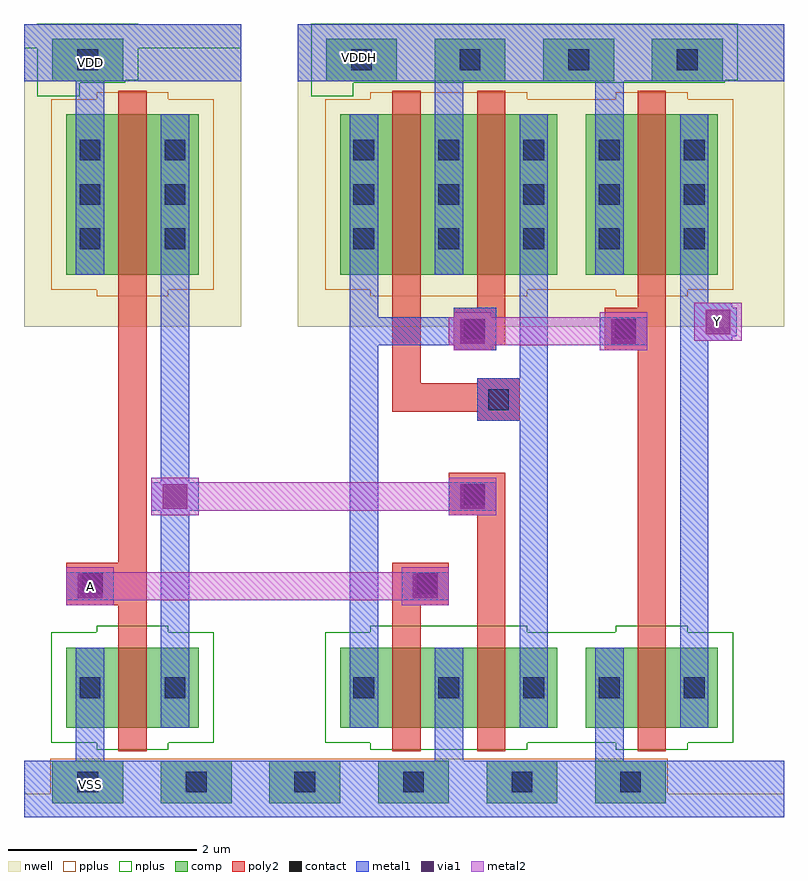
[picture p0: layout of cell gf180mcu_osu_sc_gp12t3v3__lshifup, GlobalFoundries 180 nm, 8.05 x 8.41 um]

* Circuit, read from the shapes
.subckt gf180mcu_osu_sc_gp12t3v3__lshifup A VDD VDDH VSS Y
XM1 n1 A VSS VSS nfet_03v3 w=0.85u l=0.3u
XM2 VSS A n2 VSS nfet_03v3 w=0.85u l=0.3u
XM3 n3 n1 VSS VSS nfet_03v3 w=0.85u l=0.3u
XM4 Y n2 VSS VSS nfet_03v3 w=0.85u l=0.3u
XM5 n1 A VDD VDD pfet_03v3 w=1.7u l=0.3u
XM6 VDDH n3 n2 VDDH pfet_03v3 w=1.7u l=0.3u
XM7 n3 n2 VDDH VDDH pfet_03v3 w=1.7u l=0.3u
XM8 Y n2 VDDH VDDH pfet_03v3 w=1.7u l=0.3u
.ends

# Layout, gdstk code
import gdstk
lib = gdstk.Library(unit=1e-6, precision=1e-09)
def R(c, l, rs):  # rectangles x0, y0, x1, y1
    for r in rs: c.add(gdstk.rectangle(r[:2], r[2:], *l))
def A(c, l, x, y, w, h, nx, ny, dx, dy):  # array of equal rectangles
    R(c, l, [(x+i*dx, y+j*dy, x+i*dx+w, y+j*dy+h) for i in range(nx) for j in range(ny)])
nwell = (21, 0)
comp = (22, 0)
poly2 = (30, 0)
pplus = (31, 0)
nplus = (32, 0)
contact = (33, 0)
metal1 = (34, 0)
via1 = (35, 0)
metal2 = (36, 0)

gf180mcu_osu_sc_gp12t3v3 = lib.new_cell('gf180mcu_osu_sc_gp12t3v3__lshifup')
R(gf180mcu_osu_sc_gp12t3v3, nwell, [(0,5.2,2.3,8.4), (2.9,5.2,8.05,8.4)])
A(gf180mcu_osu_sc_gp12t3v3, comp, 0.3, 0.15, 0.75, 0.45, 6, 1, 1.15, 0)
A(gf180mcu_osu_sc_gp12t3v3, comp, 3.2, 7.8, 0.75, 0.45, 4, 1, 1.15, 0)
R(gf180mcu_osu_sc_gp12t3v3, comp, [(0.45,0.95,1.85,1.8), (3.35,0.95,5.65,1.8), (5.95,0.95,7.35,1.8), (0.45,5.75,1.85,7.45), (3.35,5.75,5.65,7.45), (5.95,5.75,7.35,7.45), (0.3,7.8,1.05,8.25)])
R(gf180mcu_osu_sc_gp12t3v3, poly2, [(1,0.7,1.3,2.25), (3.9,0.7,4.2,2.25), (4.8,0.7,5.1,3.2), (6.5,0.7,6.8,4.95), (0.45,2.25,1.3,2.7), (3.9,2.25,4.5,2.7), (1,2.7,1.3,7.7), (4.5,3.2,5.1,3.65), (4.8,4.2,5.25,4.3), (3.9,4.3,5.25,4.6), (3.9,4.6,4.2,7.7), (4.8,4.6,5.25,4.65), (4.55,4.95,5,5), (6.15,4.95,6.8,5.4), (4.55,5,5.1,5.4), (4.8,5.4,5.1,7.7), (6.5,5.4,6.8,7.7)])
R(gf180mcu_osu_sc_gp12t3v3, pplus, [(0,0,8.05,0.25), (0.28,0.13,6.82,0.62), (0.77,5.52,1.53,5.59), (3.67,5.52,5.33,5.59), (6.27,5.52,7.03,5.59), (0.29,5.59,2.01,7.61), (3.19,5.59,7.51,7.61), (0.77,7.61,1.53,7.68), (3.67,7.61,5.33,7.68), (6.27,7.61,7.03,7.68)])
R(gf180mcu_osu_sc_gp12t3v3, nplus, [(0.77,0.72,1.53,0.79), (3.67,0.72,5.33,0.79), (6.27,0.72,7.03,0.79), (0.29,0.79,2.01,1.96), (3.19,0.79,7.51,1.96), (0.77,1.96,1.53,2.03), (3.67,1.96,5.33,2.03), (6.27,1.96,7.03,2.03), (0.14,7.64,0.59,7.78), (3.04,7.64,3.49,7.78), (0.14,7.78,1.07,7.81), (3.04,7.78,7.42,7.81), (0.14,7.81,1.21,8.15), (3.04,7.81,7.56,8.41), (0,8.15,2.3,8.4), (0,8.15,2.3,8.4), (0.14,8.4,1.21,8.41)])
A(gf180mcu_osu_sc_gp12t3v3, contact, 0.565, 0.265, 0.22, 0.22, 6, 1, 1.15, 0)
A(gf180mcu_osu_sc_gp12t3v3, contact, 3.49, 1.265, 0.22, 0.22, 3, 2, 0.9, 4.755)
A(gf180mcu_osu_sc_gp12t3v3, contact, 0.59, 6.02, 0.22, 0.22, 1, 3, 0, 0.47)
A(gf180mcu_osu_sc_gp12t3v3, contact, 1.49, 6.02, 0.22, 0.22, 1, 3, 0, 0.47)
A(gf180mcu_osu_sc_gp12t3v3, contact, 6.09, 6.02, 0.22, 0.22, 1, 3, 0, 0.47)
A(gf180mcu_osu_sc_gp12t3v3, contact, 6.99, 6.02, 0.22, 0.22, 1, 3, 0, 0.47)
A(gf180mcu_osu_sc_gp12t3v3, contact, 3.49, 6.49, 0.22, 0.22, 3, 2, 0.9, 0.47)
A(gf180mcu_osu_sc_gp12t3v3, contact, 3.465, 7.915, 0.22, 0.22, 4, 1, 1.15, 0)
R(gf180mcu_osu_sc_gp12t3v3, contact, [(0.59,1.265,0.81,1.485), (1.49,1.265,1.71,1.485), (6.09,1.265,6.31,1.485), (6.99,1.265,7.21,1.485), (0.615,2.365,0.835,2.585), (4.165,2.365,4.385,2.585), (4.665,3.315,4.885,3.535), (4.915,4.315,5.135,4.535), (4.665,5.065,4.885,5.285), (6.265,5.065,6.485,5.285), (0.565,7.915,0.785,8.135)])
R(gf180mcu_osu_sc_gp12t3v3, metal1, [(0,0,8.05,0.6), (0.55,0.6,0.85,1.8), (4.35,0.6,4.65,1.8), (6.05,0.6,6.35,1.8), (1.45,0.95,1.75,3.25), (3.45,0.95,3.75,5), (5.25,0.95,5.55,4.2), (6.95,0.95,7.25,5.05), (0.45,2.3,0.95,2.6), (4,2.3,4.5,2.6), (1.35,3.25,1.85,3.55), (4.5,3.25,5,3.55), (1.45,3.55,1.75,7.45), (4.8,4.2,5.55,4.65), (5.25,4.65,5.55,7.45), (4.55,4.95,5,5), (3.45,5,5,5.3), (6.1,5,6.6,5.3), (6.95,5.05,7.5,5.1), (6.95,5.1,7.55,5.4), (3.45,5.3,3.75,7.45), (4.55,5.3,5,5.4), (6.95,5.4,7.5,5.45), (6.95,5.45,7.25,7.45), (0.55,5.75,0.85,7.8), (4.35,5.75,4.65,7.8), (6.05,5.75,6.35,7.8), (0,7.8,2.3,8.4), (2.9,7.8,8.05,8.4)])
R(gf180mcu_osu_sc_gp12t3v3, via1, [(0.57,2.32,0.83,2.58), (4.12,2.32,4.38,2.58), (1.47,3.27,1.73,3.53), (4.62,3.27,4.88,3.53), (4.62,5.02,4.88,5.28), (6.22,5.02,6.48,5.28), (7.22,5.12,7.48,5.38)])
R(gf180mcu_osu_sc_gp12t3v3, metal2, [(0.45,2.25,0.95,2.3), (4,2.25,4.5,2.3), (0.45,2.3,4.5,2.6), (0.45,2.6,0.95,2.65), (4,2.6,4.5,2.65), (1.35,3.2,1.85,3.25), (4.5,3.2,5,3.25), (1.35,3.25,5,3.55), (1.35,3.55,1.85,3.6), (4.5,3.55,5,3.6), (4.55,4.95,4.95,5), (6.1,4.95,6.6,5), (4.5,5,6.6,5.3), (7.1,5.05,7.6,5.45), (4.55,5.3,4.95,5.35), (6.1,5.3,6.6,5.35)])
gf180mcu_osu_sc_gp12t3v3.add(gdstk.Label('A', (0.7,2.45), layer=36, texttype=10))
gf180mcu_osu_sc_gp12t3v3.add(gdstk.Label('Y', (7.35,5.25), layer=36, texttype=10))
gf180mcu_osu_sc_gp12t3v3.add(gdstk.Label('VDDH', (3.55,8.05), layer=34, texttype=10))
gf180mcu_osu_sc_gp12t3v3.add(gdstk.Label('VDD', (0.7,8), layer=34, texttype=10))
gf180mcu_osu_sc_gp12t3v3.add(gdstk.Label('VSS', (0.7,0.35), layer=34, texttype=10))

lib.write_gds('gf180mcu_osu_sc_gp12t3v3__lshifup.gds')
